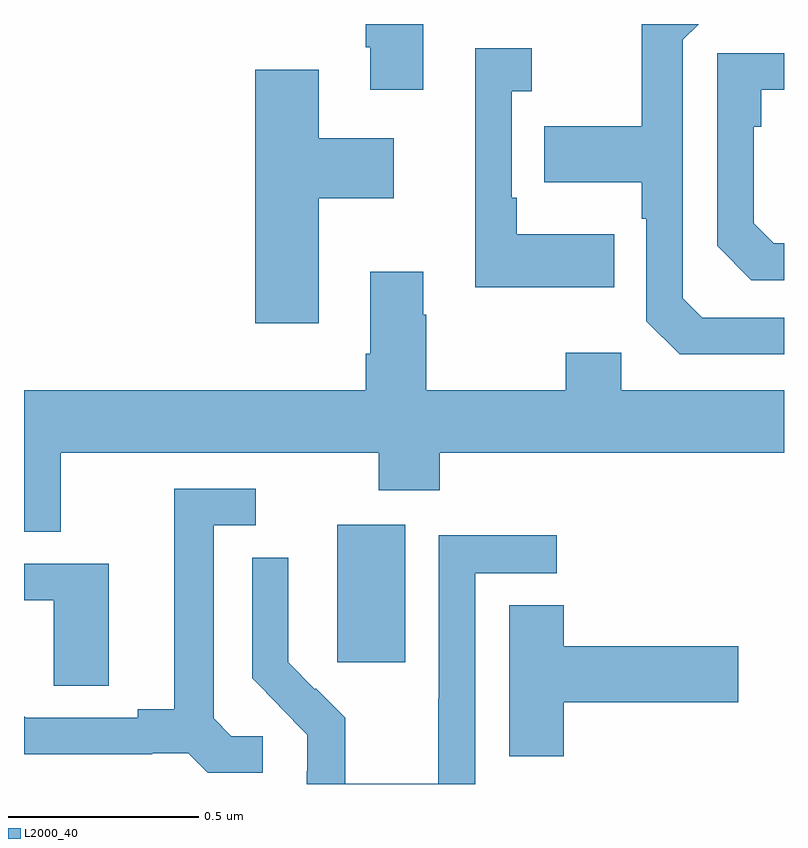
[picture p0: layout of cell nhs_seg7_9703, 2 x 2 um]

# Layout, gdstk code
import gdstk
lib = gdstk.Library(unit=1e-6, precision=1e-09)
def R(c, l, rs):  # rectangles x0, y0, x1, y1
    for r in rs: c.add(gdstk.rectangle(r[:2], r[2:], *l))
def P(c, l, *ps):  # polygons
    for p in ps: c.add(gdstk.Polygon(p, *l))
L2000_40 = (2000, 40)

nhs_seg7_9703 = lib.new_cell('nhs_seg7_9703')
R(nhs_seg7_9703, L2000_40, [(240.824,1077.321,241.003,1077.682)])
P(nhs_seg7_9703, L2000_40, [(241.051,1079),(240.899,1079),(240.899,1078.939),(240.911,1078.939),(240.911,1078.827),(241.051,1078.827)],
  [(242,1078.227),(241.785,1078.227),(241.734,1078.278),(241.734,1078.959),(241.775,1079),(241.626,1079),(241.626,1078.731),(241.369,1078.731),(241.369,1078.583),(241.626,1078.583),(241.626,1078.487),(241.638,1078.487),(241.638,1078.218),(241.725,1078.131),(242,1078.131)],
  [(241.553,1078.447),(241.297,1078.447),(241.297,1078.543),(241.284,1078.543),(241.284,1078.823),(241.336,1078.823),(241.336,1078.936),(241.187,1078.936),(241.187,1078.307),(241.553,1078.307)],
  [(242,1078.423),(241.973,1078.423),(241.92,1078.476),(241.92,1078.73),(241.94,1078.73),(241.94,1078.827),(242,1078.827),(242,1078.923),(241.824,1078.923),(241.824,1078.416),(241.914,1078.326),(242,1078.326)],
  [(240.775,1078.541),(240.973,1078.541),(240.973,1078.699),(240.775,1078.699),(240.775,1078.879),(240.608,1078.879),(240.608,1078.212),(240.775,1078.212)],
  [(240.097,1077.872),(240.934,1077.872),(240.934,1077.773),(241.094,1077.773),(241.094,1077.872),(242,1077.872),(242,1078.036),(241.572,1078.036),(241.572,1078.135),(241.426,1078.135),(241.426,1078.036),(241.059,1078.036),(241.059,1078.235),(241.051,1078.235),(241.051,1078.348),(240.911,1078.348),(240.911,1078.132),(240.899,1078.132),(240.899,1078.036),(240,1078.036),(240,1077.664),(240.097,1077.664)],
  [(240.628,1077.126),(240.546,1077.126),(240.499,1077.173),(240.499,1077.681),(240.61,1077.681),(240.61,1077.777),(240.395,1077.777),(240.395,1077.197),(240.299,1077.197),(240.299,1077.174),(240.004,1077.174),(240,1077.178),(240,1077.078),(240.338,1077.078),(240.338,1077.081),(240.432,1077.081),(240.484,1077.029),(240.628,1077.029)],
  [(241.188,1077.555),(241.402,1077.555),(241.402,1077.654),(241.092,1077.654),(241.092,1077.224),(241.09,1077.224),(241.09,1077.001),(240.845,1077.001),(240.845,1077.175),(240.768,1077.252),(240.765,1077.249),(240.695,1077.32),(240.695,1077.442),(240.696,1077.442),(240.696,1077.596),(240.6,1077.596),(240.6,1077.278),(240.673,1077.205),(240.672,1077.204),(240.746,1077.13),(240.746,1077.033),(240.744,1077.033),(240.744,1077),(241.188,1077)],
  [(240.223,1077.579),(240,1077.579),(240,1077.483),(240.078,1077.483),(240.078,1077.259),(240.223,1077.259)],
  [(241.421,1077.215),(241.879,1077.215),(241.879,1077.362),(241.421,1077.362),(241.421,1077.47),(241.277,1077.47),(241.277,1077.073),(241.421,1077.073)])

lib.write_gds('nhs_seg7_9703.gds')
